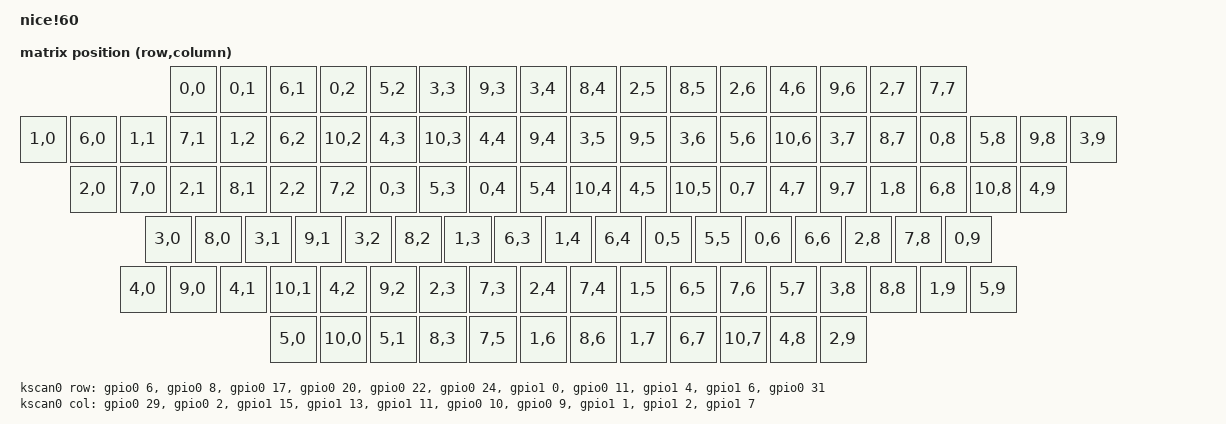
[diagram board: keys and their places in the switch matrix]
/*
 * Copyright (c) 2021 Nick Winans
 *
 * SPDX-License-Identifier: MIT
 */

/dts-v1/;
#include <nordic/nrf52840_qiaa.dtsi>
#include <common/nordic/nrf52840_uf2_boot_mode.dtsi>

#include <dt-bindings/led/led.h>
#include <dt-bindings/zmk/matrix_transform.h>

#include <layouts/common/60percent/ansi.dtsi>

#include "nice60-pinctrl.dtsi"

/ {
    model = "nice!60";
    compatible = "nice,60";

    chosen {
        zmk,kscan = &kscan0;
		zmk,matrix_transform = &default_transform;
    };
        default_transform: keymap_transform_0 {
        compatible = "zmk,matrix-transform";
        columns = <10>;
        rows = <11>;
        map = <
RC(0,0)         RC(0,1) RC(6,1) RC(0,2) RC(5,2)      RC(3,3) RC(9,3) RC(3,4) RC(8,4)      RC(2,5) RC(8,5) RC(2,6) RC(4,6)  RC(9,6) RC(2,7) RC(7,7)
RC(1,0) RC(6,0) RC(1,1) RC(7,1) RC(1,2) RC(6,2) RC(10,2) RC(4,3) RC(10,3) RC(4,4) RC(9,4) RC(3,5) RC(9,5) RC(3,6) RC(5,6) RC(10,6) RC(3,7) RC(8,7)  RC(0,8) RC(5,8) RC(9,8) RC(3,9)
RC(2,0)   RC(7,0) RC(2,1) RC(8,1) RC(2,2) RC(7,2) RC(0,3) RC(5,3)  RC(0,4) RC(5,4) RC(10,4) RC(4,5) RC(10,5)               RC(0,7) RC(4,7) RC(9,7)  RC(1,8) RC(6,8) RC(10,8) RC(4,9)
RC(3,0)    RC(8,0) RC(3,1) RC(9,1) RC(3,2) RC(8,2) RC(1,3) RC(6,3)  RC(1,4) RC(6,4) RC(0,5) RC(5,5) RC(0,6)   RC(6,6)                               RC(2,8) RC(7,8) RC(0,9)
RC(4,0)  RC(9,0) RC(4,1) RC(10,1) RC(4,2) RC(9,2) RC(2,3) RC(7,3)  RC(2,4) RC(7,4) RC(1,5) RC(6,5)         RC(7,6)                 RC(5,7)          RC(3,8) RC(8,8) RC(1,9) RC(5,9)
RC(5,0)   RC(10,0) RC(5,1)                              RC(8,3)                            RC(7,5)   RC(1,6)   RC(8,6)     RC(1,7) RC(6,7) RC(10,7)     RC(4,8)      RC(2,9)
        >;
    };

    kscan0: kscan {
        compatible = "zmk,kscan-gpio-matrix";
        wakeup-source;
        diode-direction = "col2row";
        row-gpios
            = <&gpio0 6  (GPIO_ACTIVE_HIGH | GPIO_PULL_DOWN)> /* fila 0 */
            , <&gpio0 8  (GPIO_ACTIVE_HIGH | GPIO_PULL_DOWN)> /* fila 1 */
            , <&gpio0 17 (GPIO_ACTIVE_HIGH | GPIO_PULL_DOWN)> /* fila 2 */
            , <&gpio0 20 (GPIO_ACTIVE_HIGH | GPIO_PULL_DOWN)> /* fila 3 */
            , <&gpio0 22 (GPIO_ACTIVE_HIGH | GPIO_PULL_DOWN)> /* fila 4 */
            , <&gpio0 24 (GPIO_ACTIVE_HIGH | GPIO_PULL_DOWN)> /* fila 5 */
            , <&gpio1 0  (GPIO_ACTIVE_HIGH | GPIO_PULL_DOWN)> /* fila 6 */
            , <&gpio0 11 (GPIO_ACTIVE_HIGH | GPIO_PULL_DOWN)> /* fila 7 */
            , <&gpio1 4  (GPIO_ACTIVE_HIGH | GPIO_PULL_DOWN)> /* fila 8 */
            , <&gpio1 6  (GPIO_ACTIVE_HIGH | GPIO_PULL_DOWN)> /* fila 9 */
            , <&gpio0 31  (GPIO_ACTIVE_HIGH | GPIO_PULL_DOWN)> /* fila 10 */
            ;
        col-gpios
            = <&gpio0 29 GPIO_ACTIVE_HIGH> /* col 0 */
            , <&gpio0 2  GPIO_ACTIVE_HIGH> /* col 1 */
            , <&gpio1 15 GPIO_ACTIVE_HIGH> /* col 2 */
            , <&gpio1 13 GPIO_ACTIVE_HIGH> /* col 3 */
            , <&gpio1 11 GPIO_ACTIVE_HIGH> /* col 4 */
            , <&gpio0 10 GPIO_ACTIVE_HIGH> /* col 5 */
            , <&gpio0 9  GPIO_ACTIVE_HIGH> /* col 6 */
            , <&gpio1 1  GPIO_ACTIVE_HIGH> /* col 7 */
            , <&gpio1 2  GPIO_ACTIVE_HIGH> /* col 8 */
            , <&gpio1 7  GPIO_ACTIVE_HIGH> /* col 9 */
            ;
    };




    leds {
        compatible = "gpio-leds";
        blue_led: led_0 {
            gpios = <&gpio0 26 GPIO_ACTIVE_HIGH>;
        };
    };

    // Node name must match original "EXT_POWER" label to preserve user settings.
    EXT_POWER {
        compatible = "zmk,ext-power-generic";
        control-gpios = <&gpio0 5 GPIO_ACTIVE_LOW>;
    };

    vbatt: vbatt {
        compatible = "zmk,battery-voltage-divider";
        io-channels = <&adc 2>;
        output-ohms = <2000000>;
        full-ohms = <(2000000 + 806000)>;
    };
};

/*
&reg1 {
    regulator-initial-mode = <NRF5X_REG_MODE_DCDC>;
    # regulator-initial-mode = <NRF5X_REG_MODE_LDO>;
};

*/


&adc {
    status = "okay";
};

&gpiote {
    status = "okay";
};

&gpio0 {
    status = "okay";
};

&gpio1 {
    status = "okay";
};

&spi3 {
    compatible = "nordic,nrf-spim";

    pinctrl-0 = <&spi3_default>;
    pinctrl-1 = <&spi3_sleep>;
    pinctrl-names = "default", "sleep";
    status = "okay";

    led_strip: ws2812@0 {
        compatible = "worldsemi,ws2812-spi";

        /* SPI */
        reg = <0>; /* ignored, but necessary for SPI bindings */
        spi-max-frequency = <4000000>;

        /* WS2812 */
        chain-length = <12>; /* LED strip length */
        spi-one-frame = <0x70>;
        spi-zero-frame = <0x40>;
        color-mapping = <LED_COLOR_ID_GREEN LED_COLOR_ID_RED LED_COLOR_ID_BLUE>;
    };
};

zephyr_udc0: &usbd {
    status = "okay";
};

&flash0 {
    /*
     * For more information, see:
     * http://docs.zephyrproject.org/latest/devices/dts/flash_partitions.html
     */
    partitions {
        compatible = "fixed-partitions";
        #address-cells = <1>;
        #size-cells = <1>;

        sd_partition: partition@0 {
            reg = <0x00000000 0x00001000>;
        };

        code_partition: partition@1000 {
            reg = <0x00001000 0x000d3000>;
        };

        /*
         * The flash starting at 0x000d4000 and ending at
         * 0x000f3fff is reserved for use by the application.
         */

        /*
         * Storage partition will be used by FCB/LittleFS/NVS
         * if enabled.
         */
        storage_partition: partition@d4000 {
            reg = <0x000d4000 0x00020000>;
        };

        boot_partition: partition@f4000 {
            reg = <0x000f4000 0x0000c000>;
        };
    };
};

&layout_60_ansi {
    transform = <&default_transform>;
};
